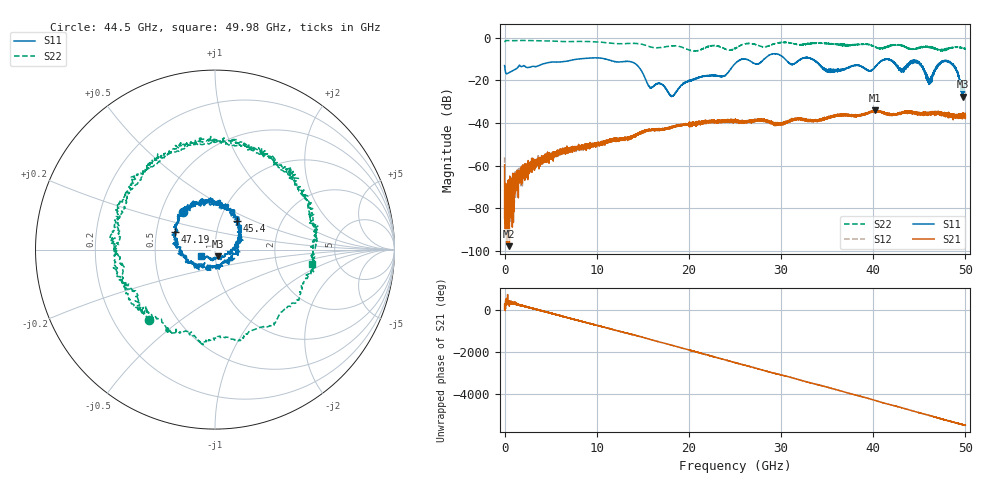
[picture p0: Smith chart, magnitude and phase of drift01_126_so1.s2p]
!Created with skrf (http://scikit-rf.org).
# Hz S RI R 50.0
!freq ReS11 ImS11 ReS21 ImS21 ReS12 ImS12 ReS22 ImS22
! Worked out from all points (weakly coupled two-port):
!   10001 points, 300 kHz to 50 GHz, reference 50 ohm
!   highest |S21| = -34.07 dB at 40.19 GHz (marker M1); lowest = -97.7 dB at 515.3 MHz (marker M2)
!   lowest |S11| = -27.7 dB at 49.69 GHz (marker M3), VSWR 1.09, Z = 51.7 - j3.83 ohm
!   |S11| at or under -10 dB: start of sweep to 8.083 GHz; 10.92 GHz to 26.01 GHz (15.09 GHz wide, 81.7 % of centre); 41.6 GHz to end of sweep (the widest 3 of 12)
!   |S22| runs from -6.4 to -1.4 dB; largest |S21 - S12| = 0.0042
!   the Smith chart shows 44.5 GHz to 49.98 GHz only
!   S11 on the Smith chart (normalised r, x): 44.5 GHz: 0.64, +0.29; 45.4 GHz: 1.21, +0.40; 47.19 GHz: 0.62, +0.13; 49.98 GHz: 0.85, -0.06
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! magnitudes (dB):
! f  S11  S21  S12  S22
! 300 kHz  -13.1  -59.6  -56.0  -2.1
! 255.3 MHz  -16.9  -70.1  -77.0  -1.4
! 515.3 MHz  -16.4  -97.7  -74.0  -1.4
! 3.075 GHz  -13.4  -59.1  -60.9  -1.4
! 8.335 GHz  -9.9  -52.6  -51.0  -1.8
! 13.81 GHz  -11.4  -46.5  -46.5  -2.7
! 15.75 GHz  -23.3  -43.5  -43.4  -4.2
! 16.67 GHz  -21.4  -43.5  -42.8  -4.8
! 18.21 GHz  -27.2  -42.1  -42.1  -3.9
! 25 GHz  -12.2  -39.6  -39.6  -5.1
! 33.34 GHz  -10.0  -38.8  -38.7  -2.6
! 35.11 GHz  -15.3  -37.7  -37.6  -2.8
! 40.19 GHz  -13.9  -34.1  -34.5  -4.3
! 41.67 GHz  -10.2  -35.8  -36.1  -4.1
! 44.5 GHz  -11.2  -35.6  -34.8  -5.4
! 45.4 GHz  -14.0  -35.9  -35.9  -4.4
! 46.14 GHz  -20.4  -35.6  -35.3  -4.3
! 47.19 GHz  -12.3  -35.3  -34.8  -5.9
! 48.65 GHz  -12.7  -36.8  -36.4  -4.8
! 49.69 GHz  -27.7  -36.8  -36.9  -4.9
! 49.98 GHz  -21.3  -36.1  -35.8  -5.2
! 50 GHz  -21.1  -36.5  -36.1  -5.4
